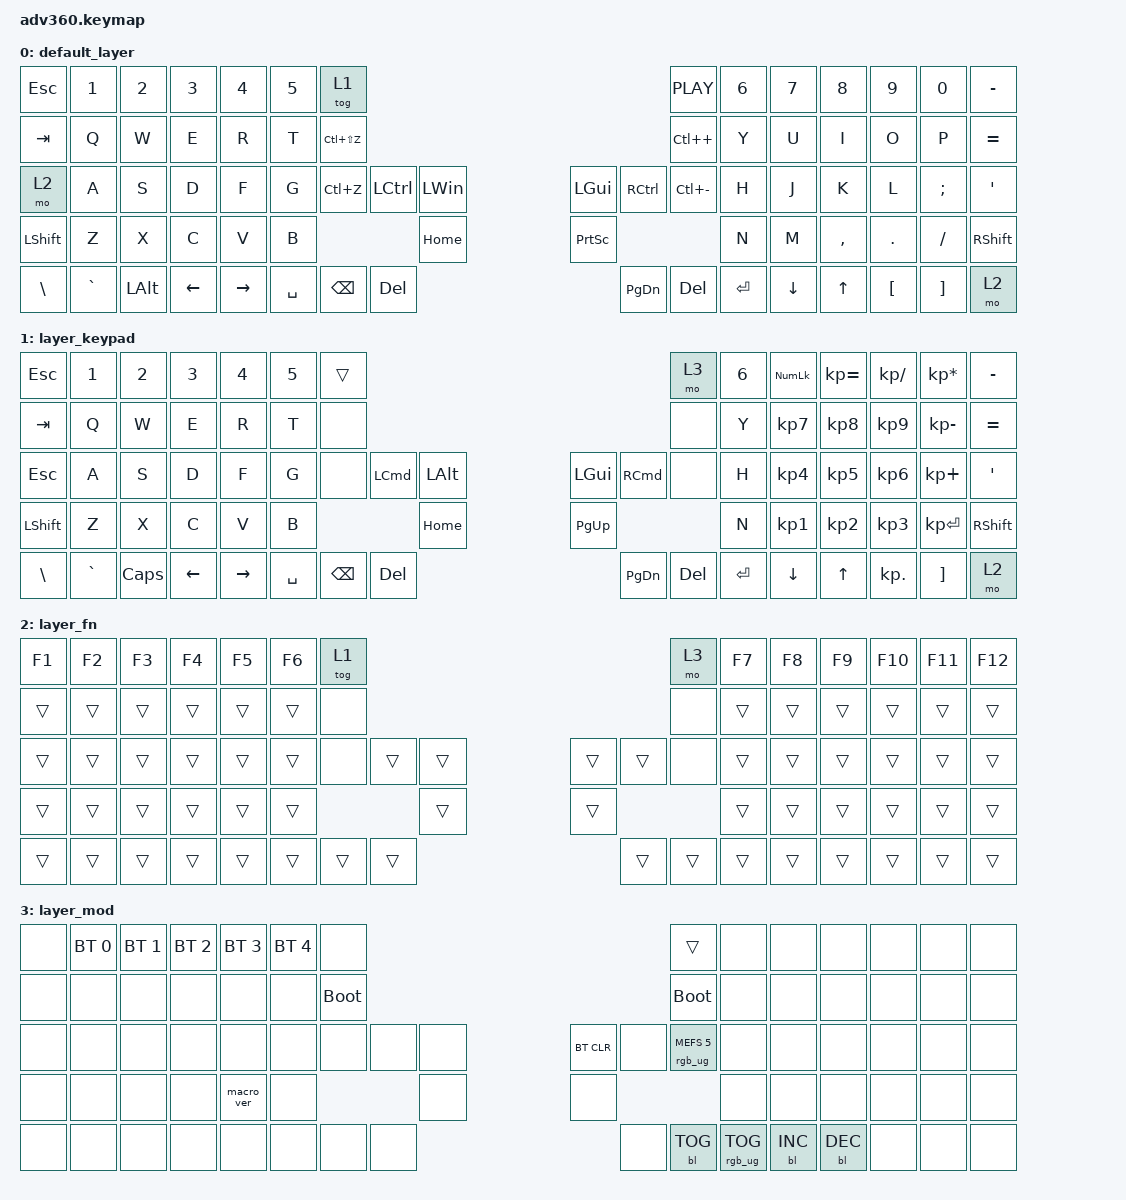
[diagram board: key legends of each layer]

/*
 * Copyright (c) 2020 The ZMK Contributors
 *
 * SPDX-License-Identifier: MIT
 */


/* THIS FILE WAS GENERATED!
 *
 * This file was generated automatically. You may or may not want to
 * edit it directly.
 */

#include <behaviors.dtsi>
#include <dt-bindings/zmk/keys.h>
#include <dt-bindings/zmk/bt.h>
#include <dt-bindings/zmk/rgb.h>
#include <dt-bindings/zmk/backlight.h>

/ {
  behaviors {
    #include "macros.dtsi"
    #include "version.dtsi"

    hm: homerow_mods {
        compatible = "zmk,behavior-hold-tap";
        label = "HOMEROW_MODS";
        #binding-cells = <2>;
        tapping-term-ms = <200>;
        quick_tap_ms = <175>;
        flavor = "tap-preferred";
        bindings = <&kp>, <&kp>;
    };
  };

    keymap {
        compatible = "zmk,keymap";


        default_layer {
            bindings = <
       &kp ESC     &kp N1        &kp N2    &kp N3     &kp N4  &kp N5                   &tog 1                                                                               &kp C_PLAY  &kp N6    &kp N7     &kp N8    &kp N9    &kp N0  &kp MINUS
       &kp TAB      &kp Q         &kp W     &kp E      &kp R   &kp T            &kp LC(LS(Z))                                                                             &kp LC(PLUS)   &kp Y     &kp U      &kp I     &kp O     &kp P  &kp EQUAL
         &mo 2      &kp A         &kp S     &kp D      &kp F   &kp G                &kp LC(Z)      &kp LCTRL  &kp LEFT_WIN                         &kp LGUI   &kp RCTRL  &kp LC(MINUS)   &kp H     &kp J      &kp K     &kp L  &kp SEMI    &kp SQT
     &kp LSHFT      &kp Z         &kp X     &kp C      &kp V   &kp B                                              &kp HOME                  &kp PRINTSCREEN                              &kp N     &kp M  &kp COMMA   &kp DOT  &kp FSLH  &kp RSHFT
 &kp BACKSLASH  &kp GRAVE  &kp LEFT_ALT  &kp LEFT  &kp RIGHT                        &kp SPACE  &kp BACKSPACE       &kp DEL                        &kp PG_DN  &kp DELETE      &kp ENTER          &kp DOWN     &kp UP  &kp LBKT  &kp RBKT      &mo 2
            >;
        };

        layer_keypad {
            bindings = <
       &kp ESC     &kp N1    &kp N2    &kp N3     &kp N4  &kp N5               &trans                                                                                  &mo 3  &kp N6  &kp KP_NUM  &kp KP_EQUAL  &kp KP_DIVIDE  &kp KP_MULTIPLY  &kp MINUS
       &kp TAB      &kp Q     &kp W     &kp E      &kp R   &kp T                &none                                                                                  &none   &kp Y   &kp KP_N7     &kp KP_N8      &kp KP_N9     &kp KP_MINUS  &kp EQUAL
       &kp ESC      &kp A     &kp S     &kp D      &kp F   &kp G                &none  &kp LEFT_COMMAND    &kp LALT                   &kp LGUI  &kp RIGHT_COMMAND      &none   &kp H   &kp KP_N4     &kp KP_N5      &kp KP_N6      &kp KP_PLUS    &kp SQT
     &kp LSHFT      &kp Z     &kp X     &kp C      &kp V   &kp B                                           &kp HOME                  &kp PG_UP                                 &kp N   &kp KP_N1     &kp KP_N2      &kp KP_N3     &kp KP_ENTER  &kp RSHFT
 &kp BACKSLASH  &kp GRAVE  &kp CAPS  &kp LEFT  &kp RIGHT                    &kp SPACE     &kp BACKSPACE  &kp DELETE                  &kp PG_DN         &kp DELETE  &kp ENTER            &kp DOWN        &kp UP     &kp KP_DOT         &kp RBKT      &mo 2
            >;
        };

        layer_fn {
            bindings = <
 &kp F1  &kp F2  &kp F3  &kp F4  &kp F5  &kp F6            &tog 1                                                   &mo 3  &kp F7  &kp F8  &kp F9  &kp F10  &kp F11  &kp F12
 &trans  &trans  &trans  &trans  &trans  &trans             &none                                                   &none  &trans  &trans  &trans   &trans   &trans   &trans
 &trans  &trans  &trans  &trans  &trans  &trans             &none  &trans  &trans                  &trans  &trans   &none  &trans  &trans  &trans   &trans   &trans   &trans
 &trans  &trans  &trans  &trans  &trans  &trans                            &trans                  &trans                  &trans  &trans  &trans   &trans   &trans   &trans
 &trans  &trans  &trans  &trans  &trans                    &trans  &trans  &trans                  &trans  &trans  &trans          &trans  &trans   &trans   &trans   &trans
            >;
        };

        layer_mod {
            bindings = <
  &none  &bt BT_SEL 0  &bt BT_SEL 1  &bt BT_SEL 2  &bt BT_SEL 3  &bt BT_SEL 4                  &none                                                                          &trans   &none       &none       &none   &none   &none   &none
  &none         &none         &none         &none         &none         &none            &bootloader                                                                     &bootloader   &none       &none       &none   &none   &none   &none
  &none         &none         &none         &none         &none         &none                  &none   &none   &none                  &bt BT_CLR       &none  &rgb_ug RGB_MEFS_CMD 5   &none       &none       &none   &none   &none   &none
  &none         &none         &none         &none    &macro_ver         &none                                  &none                       &none                                       &none       &none       &none   &none   &none   &none
  &none         &none         &none         &none         &none                                &none   &none   &none                       &none  &bl BL_TOG         &rgb_ug RGB_TOG          &bl BL_INC  &bl BL_DEC   &none   &none   &none
            >;
        };

    };
};
